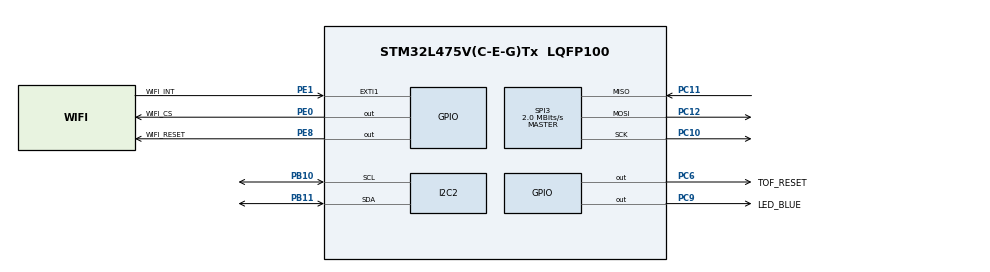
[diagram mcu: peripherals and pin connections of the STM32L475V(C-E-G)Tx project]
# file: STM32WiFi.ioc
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Mcu.Family=STM32L4
RCC.MSI_VALUE=4000000
PE8.PinState=GPIO_PIN_SET
SPI3.Direction=SPI_DIRECTION_2LINES
SPI3.VirtualType=VM_MASTER
PB10.Mode=I2C
PC9.GPIO_Label=LED_BLUE
PC10.Signal=SPI3_SCK
PC11.Signal=SPI3_MISO
PC12.Signal=SPI3_MOSI
PE8.GPIO_PuPd=GPIO_PULLUP
PC6.Signal=GPIO_Output
PC10.Mode=Full_Duplex_Master
PC6.GPIO_Label=TOF_RESET
PE1.GPIO_ModeDefaultEXTI=GPIO_MODE_IT_RISING
PB11.Signal=I2C2_SDA
ProjectManager.StackSize=0x400
NVIC.EXTI1_IRQn=true\:0\:0\:false\:false\:true\:true\:true
PE0.PinState=GPIO_PIN_SET
PB11.Mode=I2C
ProjectManager.TargetToolchain=STM32CubeIDE
PE8.GPIO_Label=WIFI_RESET
PE1.Signal=GPXTI1
RCC.LSE_VALUE=32768
SPI3.DataSize=SPI_DATASIZE_8BIT
PB10.Signal=I2C2_SCL
RCC.HSE_VALUE=8000000
PC12.Mode=Full_Duplex_Master
board=custom
RCC.VCOOutputFreq_Value=32000000
PE1.GPIO_Label=WIFI_INT
SPI3.CalculateBaudRate=2.0 MBits/s
PE8.Signal=GPIO_Output
PE0.Signal=GPIO_Output
Mcu.Name=STM32L475V(C-E-G)Tx
Mcu.Package=LQFP100
SPI3.Mode=SPI_MODE_MASTER
ProjectManager.HeapSize=0x200
PC11.Mode=Full_Duplex_Master
PE0.GPIO_Label=WIFI_CS
RCC.HSI_VALUE=16000000
NVIC.PriorityGroup=NVIC_PRIORITYGROUP_4
PE8.GPIO_Speed=GPIO_SPEED_FREQ_HIGH
PE8.GPIO_ModeDefaultOutputPP=GPIO_MODE_OUTPUT_PP
PC9.Signal=GPIO_Output

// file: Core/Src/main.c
/* USER CODE BEGIN Header */
/**
  ******************************************************************************
  * @file           : main.c
  * @brief          : Main program body
  ******************************************************************************
  * @attention
  *
  * <h2><center>&copy; Copyright (c) 2021 STMicroelectronics.
  * All rights reserved.</center></h2>
  *
  * This software component is licensed by ST under BSD 3-Clause license,
  * the "License"; You may not use this file except in compliance with the
  * License. You may obtain a copy of the License at:
  *                        opensource.org/licenses/BSD-3-Clause
  *
  ******************************************************************************
  */
/* USER CODE END Header */
#include "main.h"

/* USER CODE BEGIN PM */
//#include "string.h"
#include "wifi.h"
#include "config.h"
#include "sensors.h"

#include "utilStructs.h"

/* USER CODE END PM */

I2C_HandleTypeDef hi2c2;

SPI_HandleTypeDef hspi3;

void SystemClock_Config(void);
static void MX_GPIO_Init(void);
static void MX_SPI3_Init(void);
static void MX_I2C2_Init(void);

/* USER CODE BEGIN 0 */
uint8_t connected[]={'K','O','\n','\r'};
uint8_t already[]={'l','A','e','r','d'};

/* USER CODE END 0 */

int main(void)
{

  /* MCU Configuration--------------------------------------------------------*/

  /* Reset of all peripherals, Initializes the Flash interface and the Systick. */
  HAL_Init();

  /* Configure the system clock */
  SystemClock_Config();

  /* Initialize all configured peripherals */
  MX_GPIO_Init();
  MX_SPI3_Init();
  MX_I2C2_Init();
  /* USER CODE BEGIN 2 */

  HAL_GPIO_WritePin(WIFI_RESET_GPIO_Port,WIFI_RESET_Pin,GPIO_PIN_RESET);
  HAL_Delay(1000);
  HAL_GPIO_WritePin(WIFI_RESET_GPIO_Port,WIFI_RESET_Pin,GPIO_PIN_SET);

  /* USER CODE END 2 */

  /* Infinite loop */
  /* USER CODE BEGIN WHILE */

  //wait for the module that is ready for communication
  int result;
  do{
   result=getWifiModuleReady();
  }while(!result);

  startWifi();

  //START TOF SENSOR
  HAL_GPIO_WritePin(TOF_RESET_GPIO_Port,TOF_RESET_Pin,GPIO_PIN_SET);

  //Start the measure of tof
  startToF();

//  HAL_Delay(1);

  HAL_Delay(1);
  int distance=0;

//  float temp,hum;

  APP_Initialize();

  while (1)
  {
    /* USER CODE END WHILE */

    /* USER CODE BEGIN 3 */

	/* START FSM PARKING METER */

		switch (general_states) {

		case INIT_STATE: {
			general_states = PROCEED_STATE;
			parking_states = Init_state;
			break;
		}

		case PROCEED_STATE: {

			general_states = PROCEED_STATE;

			/***
			 * REPRESENTA LA FUNCION   p0.distance = getDistance(uRa0, PIN_PWR0, p0);
			 * LIGERAMENTE MODIFICADA PARA EFECTO DE PRUEBA.
			 * CON ESTE METODO SE OBTIENE EL VALOR DE LA VARIABLE DISTANCIA DEL SENSOR TOF
			 */
			getDistance(&distance);

			/**
			 * REPRESENTA LA FUNCION int current_parking_state(float distance);
			 * HA SIDO LIGERAMENTE MODIFICADA PARA EFECTOS DE PRUEBA.
			 * INCLUYE LA FSM PARA EL CALCULO DEL ESTADO DE LA ZONA DE PARQUEO.
			 *
			 * RECIBE COMO PARAMETRO LA VARIABLE "distance"
			 */
			current_state = current_parking_state(distance);
			HAL_GPIO_TogglePin(GPIOC, LED_BLUE_Pin);

			/**
			 * No es buena practica. Se debe contruir un delay no bloqueante.
			 * es solo con propositos de prueba.
			 */
			HAL_Delay(100);

			startToF();

			if (previus_state != current_state) {
				previus_state = current_state;
				general_states = REPORT_STATE;
			}
			break;
		}

		case ERROR_STATE: {
			general_states = PROCEED_STATE;
			break;
		}

		case ALARM_STATE: {
			general_states = PROCEED_STATE;
			break;
		}

		case REPORT_STATE: {

			/**
			 * cada vez que existe un cambio de estado de la zona de parqueo se realiza el envio
			 * via WIFI a una IP:PUERTO del nuevo estado de la zona de parque.
			 * metodo POST data enviada en formato JSON.
			 *
			 */
			setSensor("LiDar");
			setDataInt("parking_State", current_state);
			sendData();
			general_states = PROCEED_STATE;
			break;
		}

		case TIMING_STATE: {

			/**
			 * se deberia agregar un temporizador para controlar el timing
			 * de ejecucion de estados.
			 */
			break;
		}

		}

	/* END FSM PARKING METER */

  }
  /* USER CODE END 3 */
}

void SystemClock_Config(void)
{
  RCC_OscInitTypeDef RCC_OscInitStruct = {0};
  RCC_ClkInitTypeDef RCC_ClkInitStruct = {0};
  RCC_PeriphCLKInitTypeDef PeriphClkInit = {0};

  /** Initializes the RCC Oscillators according to the specified parameters
  * in the RCC_OscInitTypeDef structure.
  */
  RCC_OscInitStruct.OscillatorType = RCC_OSCILLATORTYPE_MSI;
  RCC_OscInitStruct.MSIState = RCC_MSI_ON;
  RCC_OscInitStruct.MSICalibrationValue = 0;
  RCC_OscInitStruct.MSIClockRange = RCC_MSIRANGE_6;
  RCC_OscInitStruct.PLL.PLLState = RCC_PLL_NONE;
  if (HAL_RCC_OscConfig(&RCC_OscInitStruct) != HAL_OK)
  {
    Error_Handler();
  }
  /** Initializes the CPU, AHB and APB buses clocks
  */
  RCC_ClkInitStruct.ClockType = RCC_CLOCKTYPE_HCLK|RCC_CLOCKTYPE_SYSCLK
                              |RCC_CLOCKTYPE_PCLK1|RCC_CLOCKTYPE_PCLK2;
  RCC_ClkInitStruct.SYSCLKSource = RCC_SYSCLKSOURCE_MSI;
  RCC_ClkInitStruct.AHBCLKDivider = RCC_SYSCLK_DIV1;
  RCC_ClkInitStruct.APB1CLKDivider = RCC_HCLK_DIV1;
  RCC_ClkInitStruct.APB2CLKDivider = RCC_HCLK_DIV1;

  if (HAL_RCC_ClockConfig(&RCC_ClkInitStruct, FLASH_LATENCY_0) != HAL_OK)
  {
    Error_Handler();
  }
  PeriphClkInit.PeriphClockSelection = RCC_PERIPHCLK_I2C2;
  PeriphClkInit.I2c2ClockSelection = RCC_I2C2CLKSOURCE_PCLK1;
  if (HAL_RCCEx_PeriphCLKConfig(&PeriphClkInit) != HAL_OK)
  {
    Error_Handler();
  }
  /** Configure the main internal regulator output voltage
  */
  if (HAL_PWREx_ControlVoltageScaling(PWR_REGULATOR_VOLTAGE_SCALE1) != HAL_OK)
  {
    Error_Handler();
  }
}

static void MX_I2C2_Init(void)
{

  hi2c2.Instance = I2C2;
  hi2c2.Init.Timing = 0x00000E14;
  hi2c2.Init.OwnAddress1 = 0;
  hi2c2.Init.AddressingMode = I2C_ADDRESSINGMODE_7BIT;
  hi2c2.Init.DualAddressMode = I2C_DUALADDRESS_DISABLE;
  hi2c2.Init.OwnAddress2 = 0;
  hi2c2.Init.OwnAddress2Masks = I2C_OA2_NOMASK;
  hi2c2.Init.GeneralCallMode = I2C_GENERALCALL_DISABLE;
  hi2c2.Init.NoStretchMode = I2C_NOSTRETCH_DISABLE;
  if (HAL_I2C_Init(&hi2c2) != HAL_OK)
  {
    Error_Handler();
  }
  /** Configure Analogue filter
  */
  if (HAL_I2CEx_ConfigAnalogFilter(&hi2c2, I2C_ANALOGFILTER_ENABLE) != HAL_OK)
  {
    Error_Handler();
  }
  /** Configure Digital filter
  */
  if (HAL_I2CEx_ConfigDigitalFilter(&hi2c2, 0) != HAL_OK)
  {
    Error_Handler();
  }

}

static void MX_SPI3_Init(void)
{

  /* SPI3 parameter configuration*/
  hspi3.Instance = SPI3;
  hspi3.Init.Mode = SPI_MODE_MASTER;
  hspi3.Init.Direction = SPI_DIRECTION_2LINES;
  hspi3.Init.DataSize = SPI_DATASIZE_8BIT;
  hspi3.Init.CLKPolarity = SPI_POLARITY_LOW;
  hspi3.Init.CLKPhase = SPI_PHASE_1EDGE;
  hspi3.Init.NSS = SPI_NSS_SOFT;
  hspi3.Init.BaudRatePrescaler = SPI_BAUDRATEPRESCALER_2;
  hspi3.Init.FirstBit = SPI_FIRSTBIT_MSB;
  hspi3.Init.TIMode = SPI_TIMODE_DISABLE;
  hspi3.Init.CRCCalculation = SPI_CRCCALCULATION_DISABLE;
  hspi3.Init.CRCPolynomial = 7;
  hspi3.Init.CRCLength = SPI_CRC_LENGTH_DATASIZE;
  hspi3.Init.NSSPMode = SPI_NSS_PULSE_ENABLE;
  if (HAL_SPI_Init(&hspi3) != HAL_OK)
  {
    Error_Handler();
  }

}

static void MX_GPIO_Init(void)
{
  GPIO_InitTypeDef GPIO_InitStruct = {0};

  /* GPIO Ports Clock Enable */
  __HAL_RCC_GPIOE_CLK_ENABLE();
  __HAL_RCC_GPIOB_CLK_ENABLE();
  __HAL_RCC_GPIOC_CLK_ENABLE();

  /*Configure GPIO pin Output Level */
  HAL_GPIO_WritePin(GPIOE, WIFI_RESET_Pin|WIFI_CS_Pin, GPIO_PIN_SET);

  /*Configure GPIO pin Output Level */
  HAL_GPIO_WritePin(GPIOC, TOF_RESET_Pin|LED_BLUE_Pin, GPIO_PIN_RESET);

  /*Configure GPIO pin : WIFI_RESET_Pin */
  GPIO_InitStruct.Pin = WIFI_RESET_Pin;
  GPIO_InitStruct.Mode = GPIO_MODE_OUTPUT_PP;
  GPIO_InitStruct.Pull = GPIO_PULLUP;
  GPIO_InitStruct.Speed = GPIO_SPEED_FREQ_HIGH;
  HAL_GPIO_Init(WIFI_RESET_GPIO_Port, &GPIO_InitStruct);

  /*Configure GPIO pins : TOF_RESET_Pin LED_BLUE_Pin */
  GPIO_InitStruct.Pin = TOF_RESET_Pin|LED_BLUE_Pin;
  GPIO_InitStruct.Mode = GPIO_MODE_OUTPUT_PP;
  GPIO_InitStruct.Pull = GPIO_NOPULL;
  GPIO_InitStruct.Speed = GPIO_SPEED_FREQ_LOW;
  HAL_GPIO_Init(GPIOC, &GPIO_InitStruct);

  /*Configure GPIO pin : WIFI_CS_Pin */
  GPIO_InitStruct.Pin = WIFI_CS_Pin;
  GPIO_InitStruct.Mode = GPIO_MODE_OUTPUT_PP;
  GPIO_InitStruct.Pull = GPIO_NOPULL;
  GPIO_InitStruct.Speed = GPIO_SPEED_FREQ_LOW;
  HAL_GPIO_Init(WIFI_CS_GPIO_Port, &GPIO_InitStruct);

  /*Configure GPIO pin : WIFI_INT_Pin */
  GPIO_InitStruct.Pin = WIFI_INT_Pin;
  GPIO_InitStruct.Mode = GPIO_MODE_IT_RISING;
  GPIO_InitStruct.Pull = GPIO_NOPULL;
  HAL_GPIO_Init(WIFI_INT_GPIO_Port, &GPIO_InitStruct);

  /* EXTI interrupt init*/
  HAL_NVIC_SetPriority(EXTI1_IRQn, 0, 0);
  HAL_NVIC_EnableIRQ(EXTI1_IRQn);

}

void Error_Handler(void)
{
  __disable_irq();
  while (1)
  {
  }
}

/************************ (C) COPYRIGHT STMicroelectronics *****END OF FILE****/
